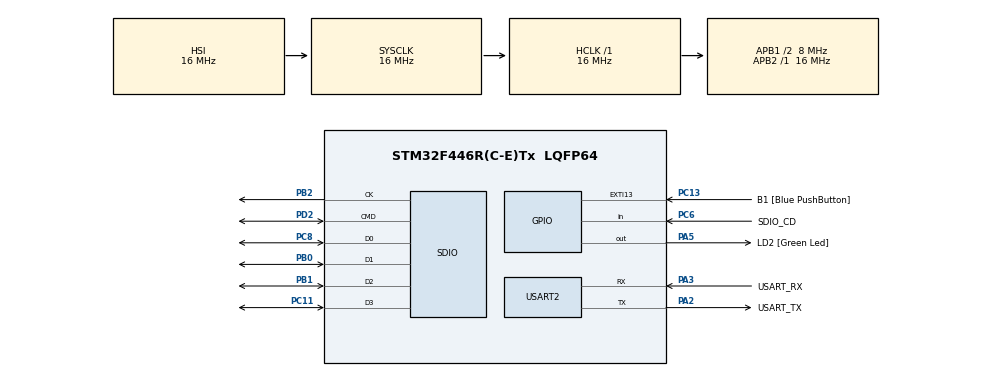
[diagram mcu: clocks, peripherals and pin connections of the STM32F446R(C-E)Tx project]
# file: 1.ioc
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FATFS.BSP.number=1
FATFS0.BSP.STBoard=false
FATFS0.BSP.api=Unknown
FATFS0.BSP.instance=PC6
FATFS0.BSP.ip=GPIO
FATFS0.BSP.mode=Input
FATFS0.BSP.name=Detect_SDIO
FATFS0.BSP.solution=PC6
Mcu.Family=STM32F4
Mcu.Name=STM32F446R(C-E)Tx
Mcu.Package=LQFP64
NVIC.PriorityGroup=NVIC_PRIORITYGROUP_0
PA13.GPIO_Label=TMS
PA13.Mode=Serial_Wire
PA13.Signal=SYS_JTMS-SWDIO
PA14.GPIO_Label=TCK
PA14.Mode=Serial_Wire
PA14.Signal=SYS_JTCK-SWCLK
PA2.GPIO_Label=USART_TX
PA2.Mode=Asynchronous
PA2.Signal=USART2_TX
PA3.GPIO_Label=USART_RX
PA3.Mode=Asynchronous
PA3.Signal=USART2_RX
PA5.GPIO_Label=LD2 [Green Led]
PA5.Signal=GPIO_Output
PB0.Mode=SD_4_bits_Wide_bus
PB0.Signal=SDIO_D1
PB1.Mode=SD_4_bits_Wide_bus
PB1.Signal=SDIO_D2
PB2.Mode=SD_4_bits_Wide_bus
PB2.Signal=SDIO_CK
PB3.GPIO_Label=SWO
PB3.Signal=SYS_JTDO-SWO
PC11.Mode=SD_4_bits_Wide_bus
PC11.Signal=SDIO_D3
PC13.GPIO_Label=B1 [Blue PushButton]
PC13.GPIO_ModeDefaultEXTI=GPIO_MODE_IT_FALLING
PC13.Signal=GPXTI13
PC14-OSC32_IN.Mode=LSE-External-Oscillator
PC14-OSC32_IN.Signal=RCC_OSC32_IN
PC15-OSC32_OUT.Mode=LSE-External-Oscillator
PC15-OSC32_OUT.Signal=RCC_OSC32_OUT
PC6.GPIO_Label=SDIO_CD
PC6.Signal=GPIO_Input
PC8.Mode=SD_4_bits_Wide_bus
PC8.Signal=SDIO_D0
PD2.Mode=SD_4_bits_Wide_bus
PD2.Signal=SDIO_CMD
PH0-OSC_IN.Mode=HSE-External-Oscillator
PH0-OSC_IN.Signal=RCC_OSC_IN
PH1-OSC_OUT.Mode=HSE-External-Oscillator
PH1-OSC_OUT.Signal=RCC_OSC_OUT
ProjectManager.HeapSize=0x200
ProjectManager.StackSize=0x400
ProjectManager.TargetToolchain=STM32CubeIDE
RCC.48MHZClocksFreq_Value=84000000
RCC.AHBFreq_Value=16000000
RCC.APB1CLKDivider=RCC_HCLK_DIV2
RCC.APB1Freq_Value=8000000
RCC.APB1TimFreq_Value=16000000
RCC.APB2Freq_Value=16000000
RCC.APB2TimFreq_Value=16000000
RCC.CortexFreq_Value=16000000
RCC.FLatency-AdvancedSettings=FLASH_LATENCY_0
RCC.HCLKFreq_Value=16000000
RCC.HSE_VALUE=8000000
RCC.HSI_VALUE=16000000
RCC.PLLM=8
RCC.PLLN=50
RCC.PLLQ=10
RCC.SYSCLKFreq_VALUE=16000000
RCC.USBFreq_Value=10000000
RCC.VCOOutputFreq_Value=100000000
SDIO.ClockDiv=255
USART2.VirtualMode=VM_ASYNC
VP_FATFS_VS_SDIO.Mode=SDIO
board=NUCLEO-F446RE

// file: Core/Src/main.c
/* USER CODE BEGIN Header */
/**
 ******************************************************************************
 * @file           : main.c
 * @brief          : Main program body
 ******************************************************************************
 * @attention
 *
 * Copyright (c) 2022 STMicroelectronics.
 * All rights reserved.
 *
 * This software is licensed under terms that can be found in the LICENSE file
 * in the root directory of this software component.
 * If no LICENSE file comes with this software, it is provided AS-IS.
 *
 ******************************************************************************
 */
/* USER CODE END Header */
#include "main.h"
#include "fatfs.h"

/* USER CODE BEGIN Includes */
#include "stdio.h"
/* USER CODE END Includes */

/* USER CODE BEGIN PD */

#define 	FLASH_SECTOR_2_BASE_ADDRESS		0x08008000

/* USER CODE END PD */

SD_HandleTypeDef hsd;

UART_HandleTypeDef huart2;

uint8_t readBuffer;

/* USER CODE BEGIN PV */

int _write(int file, char *ptr, int len)
{
	/* Implement your write code here, this is used by puts and printf for example */
	int i = 0;
	for (i = 0; i < len; i++)
		ITM_SendChar((*ptr++));
	return len;
}

/* USER CODE END PV */

void SystemClock_Config(void);
static void MX_GPIO_Init(void);
static void MX_USART2_UART_Init(void);
static void MX_SDIO_SD_Init(void);

/* USER CODE BEGIN 0 */

FATFS fs;
FIL fil;
FRESULT res;
UINT bw;

extern char SDPath[4];

/* USER CODE END 0 */

int main(void)
{

	/* MCU Configuration--------------------------------------------------------*/

	/* Reset of all peripherals, Initializes the Flash interface and the Systick. */
	HAL_Init();

	/* Configure the system clock */
	SystemClock_Config();

	/* Initialize all configured peripherals */
	MX_GPIO_Init();
	MX_USART2_UART_Init();
	MX_SDIO_SD_Init();
	MX_FATFS_Init();
	/* USER CODE BEGIN 2 */

	HAL_FLASH_Unlock();

	//res = HAL_SD_GetState(&hsd);
	//if (res != HAL_SD_STATE_RESET)

	res = f_mount(&fs, "", 1);
	res = f_open(&fil, "2.bin", FA_READ);

	if (res != FR_OK) // Нет прошивки на SD-карте. Передаем управление другой программе!
	{
		void (*userapp_reset_handler)(void);
		uint32_t msp_val = *(volatile uint32_t*) FLASH_SECTOR_2_BASE_ADDRESS;
		HAL_DeInit();
		__disable_irq();
		__set_MSP(msp_val);
		uint32_t tmp = *(volatile uint32_t*) (FLASH_SECTOR_2_BASE_ADDRESS + 4);
		userapp_reset_handler = (void*) tmp;
		userapp_reset_handler();
	}
	else // Есть прошивка на SD-карте. Стираем flash и перезаписываем файл с SD-карты во flash микроконтроллера!
	{
		uint32_t SectorError;

		// Стираем сектор 2

		static FLASH_EraseInitTypeDef EraseInitStruct;
		EraseInitStruct.TypeErase = FLASH_TYPEERASE_SECTORS;
		EraseInitStruct.Sector = FLASH_SECTOR_2; // 0x0800 8000 - 0x0800 BFFF
		EraseInitStruct.NbSectors = 1;
		if (HAL_FLASHEx_Erase(&EraseInitStruct, &SectorError) != HAL_OK)
		{
			// Код выполняемый, если операция очистки памяти окончилась неудачно
		}

		uint32_t adres = 0;

		for (;;)
		{
			HAL_GPIO_TogglePin(GPIOA, GPIO_PIN_5);
			res = f_read(&fil, &readBuffer, 1, &bw);
			if (bw == 0)
			{
				break; /* eof */
			}
			HAL_FLASH_Program(FLASH_TYPEPROGRAM_BYTE,
					(FLASH_SECTOR_2_BASE_ADDRESS + adres), readBuffer);
			adres += 1;
		}
	}

	HAL_FLASH_Lock();
	f_close(&fil);
	f_mount(0, "", 1);

	// Передаем управление другой программе после перезаписи файла с SD-карты во flash микроконтроллера!

	for (int i = 0; i < 10; i++)
	{
		HAL_GPIO_WritePin(GPIOA, GPIO_PIN_5, GPIO_PIN_SET);
		HAL_Delay(100);
		HAL_GPIO_WritePin(GPIOA, GPIO_PIN_5, GPIO_PIN_RESET);
		HAL_Delay(100);
	}

	void (*userapp_reset_handler)(void);
	uint32_t msp_val = *(volatile uint32_t*) FLASH_SECTOR_2_BASE_ADDRESS;
	HAL_DeInit();
	__disable_irq();
	__set_MSP(msp_val);
	uint32_t tmp2 = *(volatile uint32_t*) (FLASH_SECTOR_2_BASE_ADDRESS + 4);
	userapp_reset_handler = (void*) tmp2;
	userapp_reset_handler();

	/* USER CODE END 2 */

	/* Infinite loop */
	while (1)
	{

	}
}

void SystemClock_Config(void)
{
	RCC_OscInitTypeDef RCC_OscInitStruct =
	{ 0 };
	RCC_ClkInitTypeDef RCC_ClkInitStruct =
	{ 0 };

	/** Configure the main internal regulator output voltage
	 */
	__HAL_RCC_PWR_CLK_ENABLE();
	__HAL_PWR_VOLTAGESCALING_CONFIG(PWR_REGULATOR_VOLTAGE_SCALE3);

	/** Initializes the RCC Oscillators according to the specified parameters
	 * in the RCC_OscInitTypeDef structure.
	 */
	RCC_OscInitStruct.OscillatorType = RCC_OSCILLATORTYPE_HSI;
	RCC_OscInitStruct.HSIState = RCC_HSI_ON;
	RCC_OscInitStruct.HSICalibrationValue = RCC_HSICALIBRATION_DEFAULT;
	RCC_OscInitStruct.PLL.PLLState = RCC_PLL_ON;
	RCC_OscInitStruct.PLL.PLLSource = RCC_PLLSOURCE_HSI;
	RCC_OscInitStruct.PLL.PLLM = 8;
	RCC_OscInitStruct.PLL.PLLN = 50;
	RCC_OscInitStruct.PLL.PLLP = RCC_PLLP_DIV2;
	RCC_OscInitStruct.PLL.PLLQ = 10;
	RCC_OscInitStruct.PLL.PLLR = 2;
	if (HAL_RCC_OscConfig(&RCC_OscInitStruct) != HAL_OK)
	{
		Error_Handler();
	}

	/** Initializes the CPU, AHB and APB buses clocks
	 */
	RCC_ClkInitStruct.ClockType = RCC_CLOCKTYPE_HCLK | RCC_CLOCKTYPE_SYSCLK
			| RCC_CLOCKTYPE_PCLK1 | RCC_CLOCKTYPE_PCLK2;
	RCC_ClkInitStruct.SYSCLKSource = RCC_SYSCLKSOURCE_HSI;
	RCC_ClkInitStruct.AHBCLKDivider = RCC_SYSCLK_DIV1;
	RCC_ClkInitStruct.APB1CLKDivider = RCC_HCLK_DIV2;
	RCC_ClkInitStruct.APB2CLKDivider = RCC_HCLK_DIV1;

	if (HAL_RCC_ClockConfig(&RCC_ClkInitStruct, FLASH_LATENCY_0) != HAL_OK)
	{
		Error_Handler();
	}
}

static void MX_SDIO_SD_Init(void)
{

	hsd.Instance = SDIO;
	hsd.Init.ClockEdge = SDIO_CLOCK_EDGE_RISING;
	hsd.Init.ClockBypass = SDIO_CLOCK_BYPASS_DISABLE;
	hsd.Init.ClockPowerSave = SDIO_CLOCK_POWER_SAVE_DISABLE;
	hsd.Init.BusWide = SDIO_BUS_WIDE_1B;
	hsd.Init.HardwareFlowControl = SDIO_HARDWARE_FLOW_CONTROL_DISABLE;
	hsd.Init.ClockDiv = 255;

}

static void MX_USART2_UART_Init(void)
{

	huart2.Instance = USART2;
	huart2.Init.BaudRate = 115200;
	huart2.Init.WordLength = UART_WORDLENGTH_8B;
	huart2.Init.StopBits = UART_STOPBITS_1;
	huart2.Init.Parity = UART_PARITY_NONE;
	huart2.Init.Mode = UART_MODE_TX_RX;
	huart2.Init.HwFlowCtl = UART_HWCONTROL_NONE;
	huart2.Init.OverSampling = UART_OVERSAMPLING_16;
	if (HAL_UART_Init(&huart2) != HAL_OK)
	{
		Error_Handler();
	}

}

static void MX_GPIO_Init(void)
{
	GPIO_InitTypeDef GPIO_InitStruct =
	{ 0 };

	/* GPIO Ports Clock Enable */
	__HAL_RCC_GPIOC_CLK_ENABLE();
	__HAL_RCC_GPIOH_CLK_ENABLE();
	__HAL_RCC_GPIOA_CLK_ENABLE();
	__HAL_RCC_GPIOB_CLK_ENABLE();
	__HAL_RCC_GPIOD_CLK_ENABLE();

	/*Configure GPIO pin Output Level */
	HAL_GPIO_WritePin(LD2_GPIO_Port, LD2_Pin, GPIO_PIN_RESET);

	/*Configure GPIO pin : B1_Pin */
	GPIO_InitStruct.Pin = B1_Pin;
	GPIO_InitStruct.Mode = GPIO_MODE_IT_FALLING;
	GPIO_InitStruct.Pull = GPIO_NOPULL;
	HAL_GPIO_Init(B1_GPIO_Port, &GPIO_InitStruct);

	/*Configure GPIO pin : LD2_Pin */
	GPIO_InitStruct.Pin = LD2_Pin;
	GPIO_InitStruct.Mode = GPIO_MODE_OUTPUT_PP;
	GPIO_InitStruct.Pull = GPIO_NOPULL;
	GPIO_InitStruct.Speed = GPIO_SPEED_FREQ_LOW;
	HAL_GPIO_Init(LD2_GPIO_Port, &GPIO_InitStruct);

	/*Configure GPIO pin : SDIO_CD_Pin */
	GPIO_InitStruct.Pin = SDIO_CD_Pin;
	GPIO_InitStruct.Mode = GPIO_MODE_INPUT;
	GPIO_InitStruct.Pull = GPIO_NOPULL;
	HAL_GPIO_Init(SDIO_CD_GPIO_Port, &GPIO_InitStruct);

}

void Error_Handler(void)
{
	__disable_irq();
	while (1)
	{
	}
}
